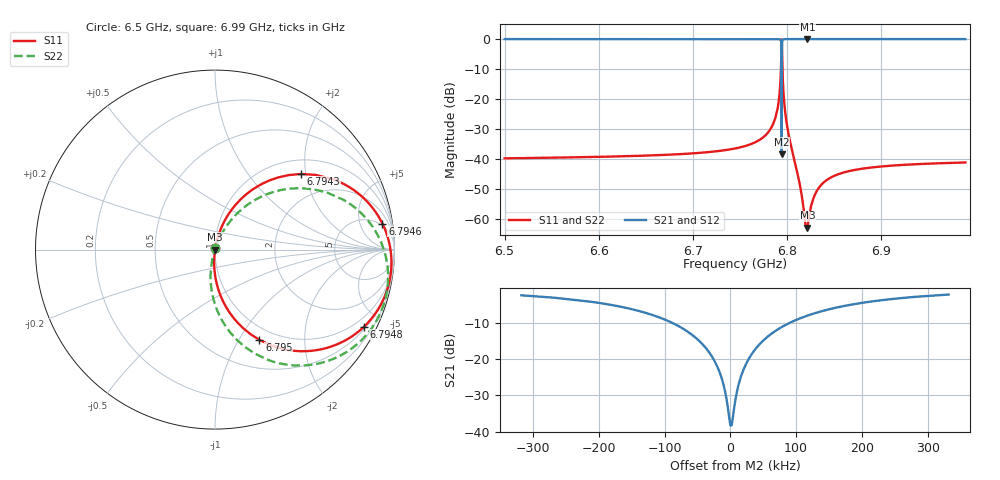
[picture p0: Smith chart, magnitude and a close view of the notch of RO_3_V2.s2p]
! Sonnet Data File
! From: em Version : 14.52
! From Project: RO_3
! Data is De-embedded
! Data File Written: 01/09/2019 02:08:32
!< HDATE 01/08/2019 16:51:33
!< MDATE 01/09/2019 01:55:57
# GHZ S MA R 50.00000
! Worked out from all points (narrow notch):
!   681 points, 6.5 GHz to 6.99 GHz, reference 50 ohm
!   highest |S21| = 0.00 dB at 6.822 GHz (marker M1); lowest = -38.3 dB at 6.7947 GHz (marker M2)
!   notch at M2: 38.2 dB deep, 58.7 kHz wide at half that depth
!   lowest |S11| = -62.7 dB at 6.822 GHz (marker M3), VSWR 1.00, Z = 50.1 + j0.0211 ohm
!   |S11| at or under -10 dB: start of sweep to 6.7939 GHz; 6.7954 GHz to end of sweep
!   |S22| runs from -62.8 to -0.1 dB; largest |S21 - S12| = 0
!   S11 on the Smith chart (normalised r, x): 6.5 GHz: 1.00, +0.02; 6.7943 GHz: 1.32, +1.87; 6.7946 GHz: 4, +11; 6.7948 GHz: 0.59, -4.04; 6.795 GHz: 0.84, -1.23; 6.99 GHz: 1.00, +0.02
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6.5  0.01038 78.0  0.9999 -13.2  0.9999 -13.2  0.01038 75.6
!< P1 F=6.5 Eeff=(5.67079447 -5.1701e-6) Z0=(51.6071174 2.35299e-5) R=0.00991323 C=0.00225121
!< P2 F=6.5 Eeff=(5.67079447 -5.1701e-6) Z0=(51.6071174 2.35299e-5) R=0.00991323 C=0.00225121
6.582  0.01084 78.0  0.9999 -13.4  0.9999 -13.4  0.01084 75.3
6.664  0.01174 78.0  0.9999 -13.6  0.9999 -13.6  0.01174 74.8
6.746  0.01524 78.3  0.9999 -13.9  0.9999 -13.9  0.01524 73.8
6.774  0.0226 78.7  0.9997 -14.4  0.9997 -14.4  0.0226 72.5
6.79  0.0661 77.2  0.9978 -16.9  0.9978 -16.9  0.0661 68.8
6.79345  0.22 68.6  0.975 -25.9  0.975 -25.9  0.22 59.4
6.79435  0.6375 41.4  0.7643 -52.8  0.7643 -52.8  0.6375 32.0
6.794586  0.9438 8.8  0.2972 -83.8  0.2972 -83.8  0.9438 -0.6
6.79464  0.9826 -2.2  0.1088 -90.9  0.1088 -90.9  0.9826 -11.7
6.794668  0.9884 -8.2  0.01218 -30.1  0.01218 -30.1  0.9884 -17.7
6.7947  0.9817 -15.1  0.1162 64.5  0.1162 64.5  0.9817 -24.6
6.79476  0.9351 -27.3  0.3239 56.0  0.3239 56.0  0.9351 -36.8
6.79505  0.5608 -63.8  0.8233 20.9  0.8233 20.9  0.5608 -73.4
6.79625  0.1546 -89.2  0.9877 -4.3  0.9877 -4.3  0.1546 -99.1
6.8  0.03943 -95.2  0.9992 -10.9  0.9992 -10.9  0.03943 -106.6
6.816  0.002493 -83.0  1 -13.1  1 -13.1  0.002492 -123.1
6.822  0.0007291 16.8  1 -13.2  1 -13.2  0.000727 136.7
6.828  0.002156 63.6  1 -13.3  1 -13.3  0.002155 89.7
6.85  0.005264 74.0  1 -13.6  1 -13.6  0.005264 78.9
6.91  0.007811 76.0  1 -13.8  1 -13.8  0.007811 76.3
6.99  0.008858 76.4  1 -14.1  1 -14.1  0.008858 75.5
